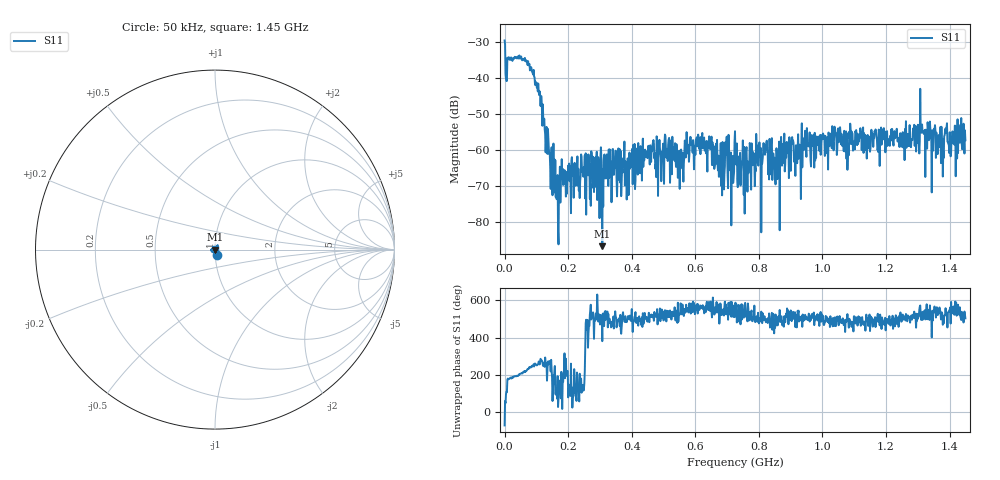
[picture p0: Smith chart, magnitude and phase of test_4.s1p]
! Created with skrf 1.11.0 (http://scikit-rf.org).
# Hz S RI R 50.0
!freq ReS11 ImS11
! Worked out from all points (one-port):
!   1001 points, 50 kHz to 1.45 GHz, reference 50 ohm
!   lowest |S11| = -86.7 dB at 307.4 MHz (marker M1), VSWR 1.00, Z = 50 + j0.0017 ohm
!   |S11| at or under -10 dB: start of sweep to end of sweep
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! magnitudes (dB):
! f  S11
! 50 kHz  -29.6
! 10.2 MHz  -34.9
! 45 MHz  -34.6
! 84.15 MHz  -37.1
! 110.2 MHz  -43.7
! 162.4 MHz  -68.3
! 181.3 MHz  -67.8
! 307.4 MHz  -86.7
! 362.5 MHz  -59.8
! 510.4 MHz  -61.2
! 543.8 MHz  -60.9
! 614.8 MHz  -56.6
! 646.7 MHz  -59.8
! 677.2 MHz  -67.3
! 725 MHz  -54.8
! 759.8 MHz  -60.3
! 820.7 MHz  -59.0
! 858.4 MHz  -68.1
! 874.4 MHz  -58.3
! 906.3 MHz  -57.9
! 1.088 GHz  -52.7
! 1.269 GHz  -55.6
! 1.315 GHz  -55.1
! 1.322 GHz  -54.5
! 1.375 GHz  -53.6
! 1.391 GHz  -53.9
! 1.401 GHz  -55.1
! 1.45 GHz  -57.3
